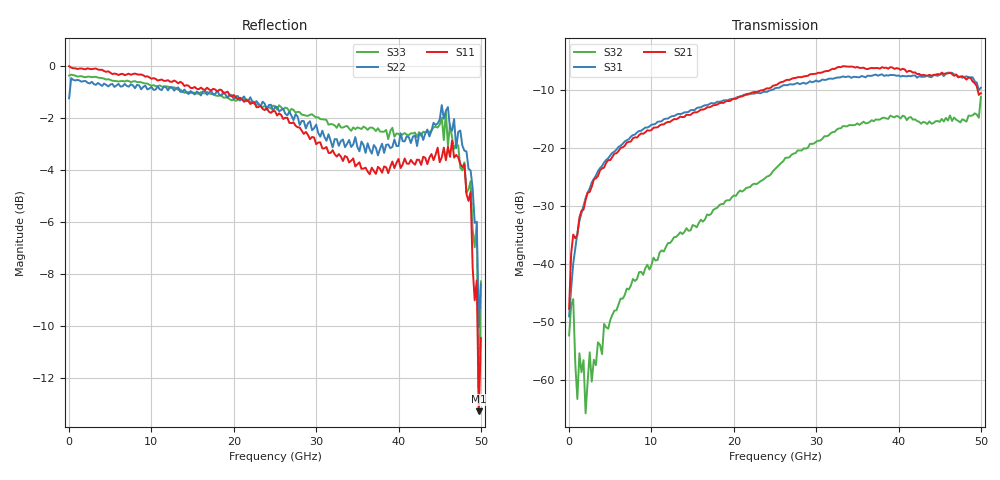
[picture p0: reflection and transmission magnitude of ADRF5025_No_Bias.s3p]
! Device:  ADRF5025
! Description: Silicon SPDT Switch, Reflective
! Frequency:  9kHz -  44.00 GHz
! Ports:
!  RFC = Port 1
!  RF1 = Port 2
!  RF2 = Port 3
! VDD  = 0 Volts
! VSS  = 0 Volts
! VCTL = 0 Volts
! Data:	Data was collected using a calibrated network analyzer.
!	Fixture effects were calibrated out using InSitu software to generate
!	this Deembedded S Parameter data of ADRF5025.
! Note:	Analog Devices supplies this data as a sample of measured data at the package pin
!	for this product.  Your particular data for this product may vary.
!	Data was taken at 25 degrees C.
!	Analog Devices reserves the right to change this data at anytime.
# GHZ  S  DB  R  50
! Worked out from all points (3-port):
!   201 points, 10 MHz to 50 GHz, reference 50 ohm
!   strongest paths, dB at 10 MHz, 12.51 GHz, 25 GHz, 37.5 GHz, 50 GHz:
!     S21: -47.7, -15.2, -9.2, -6.2, -10.5
!     S31: -49.0, -14.5, -9.7, -7.5, -9.6
!     S32: -52.3, -35.9, -23.6, -15.1, -11.2
!   lowest |S11| = -13.3 dB at 49.75 GHz (marker M1), VSWR 1.55, Z = 69.1 - j17.7 ohm
!   |S11| at or under -10 dB: 49.59 GHz to end of sweep
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0.01  -0.00 3.3  -47.69 5.3  -48.98 1.0
      -47.69 5.3  -1.24 -4.0  -52.27 -143.5
      -48.98 1.0  -52.27 -143.5  -0.37 1.4
0.5099  -0.09 -6.3  -34.89 69.3  -39.90 65.5
        -34.89 69.3  -0.53 -2.0  -46.00 72.0
        -39.90 65.5  -46.00 72.0  -0.35 -6.1
2.0096  -0.12 -19.2  -28.95 64.5  -28.63 65.1
        -28.95 64.5  -0.58 -21.3  -65.67 109.4
        -28.63 65.1  -65.67 109.4  -0.43 -20.8
9.5081  -0.39 -85.2  -16.93 -1.3  -16.46 -0.6
        -16.93 -1.3  -0.90 -94.8  -40.09 79.0
        -16.46 -0.6  -40.09 79.0  -0.67 -93.7
17.5065  -0.88 -150.5  -12.63 -65.7  -12.32 -69.7
         -12.63 -65.7  -1.10 -159.8  -30.64 3.9
         -12.32 -69.7  -30.64 3.9  -1.08 -168.2
25.005  -1.74 148.2  -9.17 -126.9  -9.69 -133.2
        -9.17 -126.9  -1.58 135.2  -23.62 -71.1
        -9.69 -133.2  -23.62 -71.1  -1.54 122.8
36.25275  -4.06 36.2  -6.39 119.7  -7.53 122.8
          -6.39 119.7  -2.97 11.6  -15.70 153.8
          -7.53 122.8  -15.70 153.8  -2.46 17.1
46.0008  -3.11 -55.0  -7.13 34.0  -7.01 39.2
         -7.13 34.0  -1.58 -77.3  -15.26 63.5
         -7.01 39.2  -15.26 63.5  -3.08 -60.7
49.75005  -13.30 -34.4  -10.84 -30.1  -10.02 -25.0
          -10.84 -30.1  -10.07 -112.5  -14.77 -4.9
          -10.02 -25.0  -14.77 -4.9  -13.37 -75.8
50  -10.47 80.7  -10.54 -51.1  -9.61 -51.2
    -10.54 -51.1  -8.40 137.5  -11.19 -37.8
    -9.61 -51.2  -11.19 -37.8  -8.29 126.6
